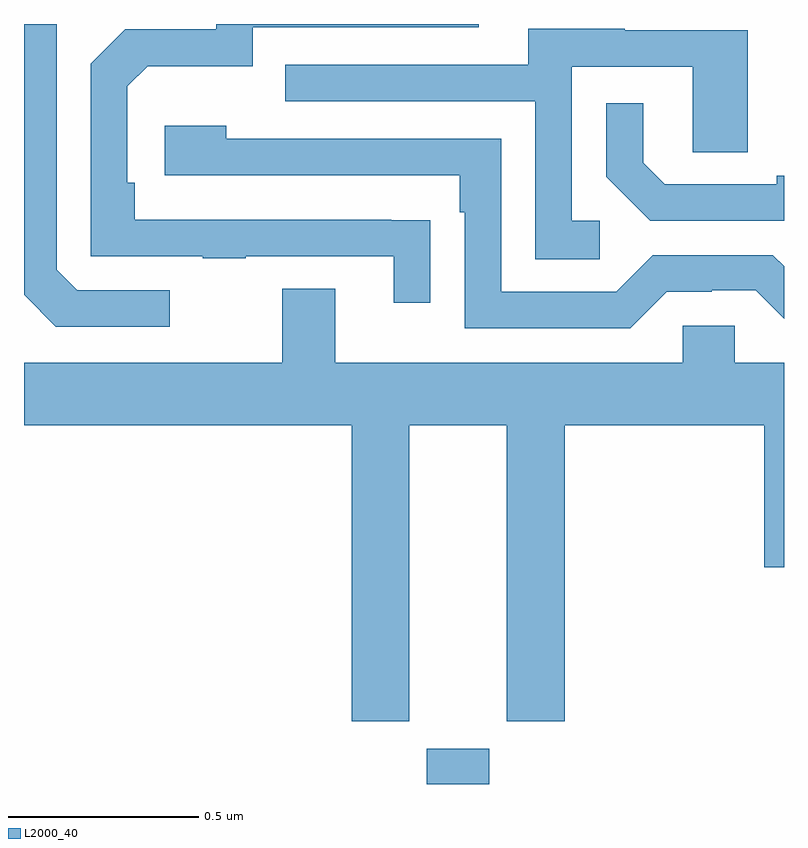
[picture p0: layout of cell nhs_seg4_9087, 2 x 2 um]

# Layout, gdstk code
import gdstk
lib = gdstk.Library(unit=1e-6, precision=1e-09)
def R(c, l, rs):  # rectangles x0, y0, x1, y1
    for r in rs: c.add(gdstk.rectangle(r[:2], r[2:], *l))
def P(c, l, *ps):  # polygons
    for p in ps: c.add(gdstk.Polygon(p, *l))
L2000_40 = (2000, 40)

nhs_seg4_9087 = lib.new_cell('nhs_seg4_9087')
R(nhs_seg4_9087, L2000_40, [(224.06,771.9,224.224,771.993)])
P(nhs_seg4_9087, L2000_40, [(224.069,773.384),(223.967,773.384),(223.967,773.385),(223.292,773.385),(223.292,773.482),(223.272,773.482),(223.272,773.736),(223.325,773.789),(223.602,773.789),(223.602,773.892),(224.197,773.892),(224.197,773.9),(223.506,773.9),(223.506,773.886),(223.266,773.886),(223.176,773.796),(223.176,773.289),(223.471,773.289),(223.471,773.284),(223.583,773.284),(223.583,773.289),(223.973,773.289),(223.973,773.166),(224.069,773.166)],
  [(223.384,773.199),(223.14,773.199),(223.086,773.253),(223.086,773.9),(223,773.9),(223,773.187),(223.083,773.103),(223.384,773.103)],
  [(224.515,773.382),(224.442,773.382),(224.442,773.787),(224.76,773.787),(224.76,773.563),(224.905,773.563),(224.905,773.883),(224.581,773.883),(224.581,773.887),(224.327,773.887),(224.327,773.793),(223.687,773.793),(223.687,773.697),(224.346,773.697),(224.346,773.281),(224.515,773.281)],
  [(225,773.501),(224.981,773.501),(224.981,773.478),(224.686,773.478),(224.629,773.535),(224.629,773.692),(224.532,773.692),(224.532,773.498),(224.648,773.382),(225,773.382)],
  [(224.691,773.196),(224.81,773.196),(224.81,773.199),(224.925,773.199),(225,773.124),(225,773.262),(224.97,773.292),(224.655,773.292),(224.559,773.196),(224.256,773.196),(224.256,773.598),(223.532,773.598),(223.532,773.632),(223.371,773.632),(223.371,773.502),(224.147,773.502),(224.147,773.405),(224.16,773.405),(224.16,773.1),(224.595,773.1)],
  [(224.014,772.844),(224.27,772.844),(224.27,772.065),(224.423,772.065),(224.423,772.844),(224.948,772.844),(224.948,772.47),(225,772.47),(225,773.008),(224.871,773.008),(224.871,773.106),(224.733,773.106),(224.733,773.008),(223.819,773.008),(223.819,773.203),(223.679,773.203),(223.679,773.008),(223,773.008),(223,772.844),(223.862,772.844),(223.862,772.065),(224.014,772.065)])

lib.write_gds('nhs_seg4_9087.gds')
